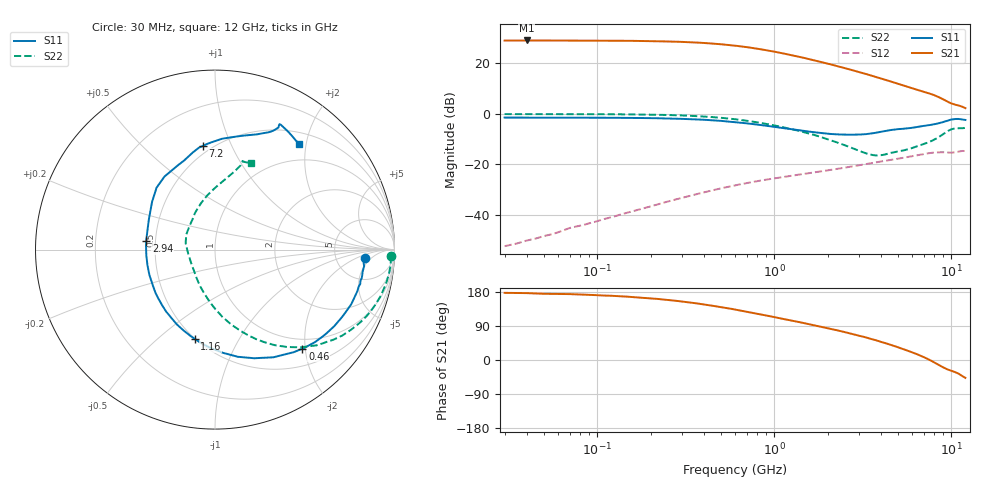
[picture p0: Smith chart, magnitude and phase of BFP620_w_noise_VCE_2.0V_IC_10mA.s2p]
! Infineon Technologies  Discrete & RF Semiconductors
! BFP620
! VCE =  2.0 V,  IC =  10 mA
! Common Emitter S-Parameters:  Nov 2015
# GHz  S  MA  R  50
!  f  S11  S21  S12  S22
! GHz  MAG  ANG  MAG  ANG  MAG  ANG  MAG  ANG
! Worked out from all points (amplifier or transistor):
!   239 points, 30 MHz to 12 GHz, reference 50 ohm
!   highest |S21| = 29.0 dB at 40 MHz (marker M1)
!   |S21| within 3 dB of that: start of sweep to 758.2 MHz
!   unconditionally stable (mu >= 1): 4.117 GHz to end of sweep
!   at 300 MHz: K = 0.16, MSG = 30.9 dB, |S12| = -33.3 dB
!   at 1.88 GHz: K = 0.73, MSG = 21.5 dB, |S12| = -22.7 dB
!   at 12 GHz: K = 1.14, MAG = 6.2 dB, |S12| = -14.8 dB
!   lowest NFmin = 0.73 dB at 450 MHz
!   S11 on the Smith chart (normalised r, x): 30 MHz: 10, -3; 460 MHz: 0.81, -1.94; 1.16 GHz: 0.50, -0.67; 2.94 GHz: 0.44, +0.05; 7.2 GHz: 0.45, +0.78; 12 GHz: 0.70, +1.87
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0.03  0.8374 -3.1  27.93 177.2  0.0024 70.5  0.9808 -2.2
0.04  0.8343 -4.4  28.04 176.5  0.0031 75.2  0.9811 -2.9
0.05  0.8311 -5.2  27.99 174.7  0.0038 77.8  0.9821 -3.8
0.07  0.8332 -7.6  28.02 173.9  0.0055 78.2  0.9815 -5.4
0.085  0.8322 -9.3  27.91 172.4  0.0064 78.8  0.98 -6.7
0.145  0.8261 -15.9  27.64 167.4  0.0108 78.7  0.9707 -11.5
0.2  0.818 -21.8  27.24 162.8  0.0147 76.6  0.9574 -15.9
0.24  0.8062 -26.0  26.86 159.4  0.0176 75.1  0.9449 -18.9
0.34  0.7774 -36.7  25.8 151.3  0.0242 70.8  0.9063 -26.4
0.46  0.7359 -48.6  24.17 142.3  0.0312 65.9  0.8498 -34.7
0.6  0.6828 -61.5  22.15 133.2  0.0383 60.7  0.7778 -43.3
0.7  0.6438 -70.1  20.69 127.2  0.0425 57.5  0.7247 -48.7
0.8  0.6105 -78.0  19.28 122.0  0.0463 54.7  0.6751 -53.5
0.96  0.5593 -89.6  17.29 114.9  0.0514 51.2  0.6024 -60.2
1.16  0.5095 -102.9  15.18 107.2  0.057 47.8  0.5255 -67.5
1.64  0.4342 -130.4  11.6 92.7  0.0682 42.2  0.3888 -82.1
2.2  0.393 -157.8  8.964 79.7  0.0797 37.5  0.2793 -98.1
2.94  0.3857 173.1  6.807 65.3  0.094 32.0  0.1908 -122.0
4.5  0.4745 133.3  4.377 40.5  0.1212 19.6  0.1673 167.8
7.2  0.5814 96.8  2.629 4.8  0.1621 -2.9  0.2603 109.4
9  0.6846 69.8  1.924 -19.6  0.173 -21.5  0.3943 81.9
12  0.7511 51.4  1.286 -47.2  0.1824 -41.4  0.5237 67.5
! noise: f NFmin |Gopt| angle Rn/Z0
0.45  0.73  0.26  1  0.11
0.9  0.73  0.2  6  0.11
1.9  0.76  0.09  22  0.11
2.4  0.81  0.04  39  0.11
3.5  0.86  0.02  -174  0.12
5.5  1.18  0.09  -129  0.13
10  1.69  0.59  -52  0.71
